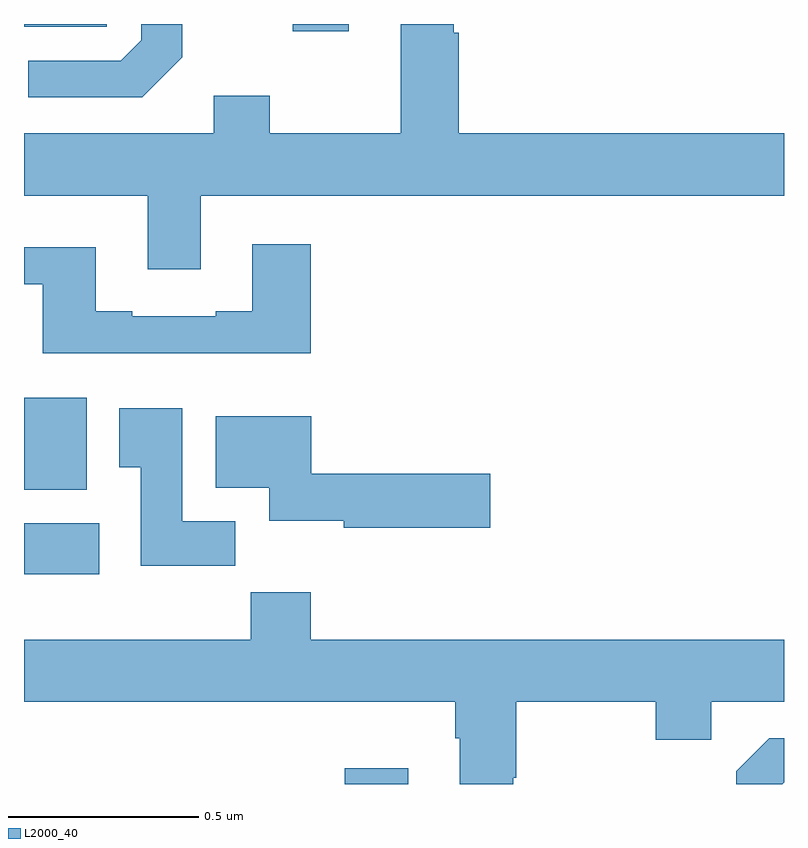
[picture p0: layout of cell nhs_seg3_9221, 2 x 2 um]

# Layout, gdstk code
import gdstk
lib = gdstk.Library(unit=1e-6, precision=1e-09)
def R(c, l, rs):  # rectangles x0, y0, x1, y1
    for r in rs: c.add(gdstk.rectangle(r[:2], r[2:], *l))
def P(c, l, *ps):  # polygons
    for p in ps: c.add(gdstk.Polygon(p, *l))
L2000_40 = (2000, 40)

nhs_seg3_9221 = lib.new_cell('nhs_seg3_9221')
R(nhs_seg3_9221, L2000_40, [(226.844,667.4,227.011,667.441), (226,667.952,226.198,668.086), (226,668.174,226.165,668.416), (226.707,669.381,226.855,669.4), (226,669.393,226.218,669.4)])
P(nhs_seg3_9221, L2000_40, [(226.465,668.948),(228,668.948),(228,669.112),(227.144,669.112),(227.144,669.377),(227.131,669.377),(227.131,669.4),(226.991,669.4),(226.991,669.112),(226.647,669.112),(226.647,669.211),(226.499,669.211),(226.499,669.112),(226,669.112),(226,668.948),(226.325,668.948),(226.325,668.754),(226.465,668.754)],
  [(226.417,669.313),(226.417,669.4),(226.308,669.4),(226.308,669.357),(226.254,669.303),(226.011,669.303),(226.011,669.207),(226.311,669.207)],
  [(226.754,668.821),(226.601,668.821),(226.601,668.644),(226.505,668.644),(226.505,668.631),(226.285,668.631),(226.285,668.644),(226.189,668.644),(226.189,668.812),(226,668.812),(226,668.715),(226.049,668.715),(226.049,668.534),(226.754,668.534)],
  [(226.556,668.092),(226.417,668.092),(226.417,668.389),(226.25,668.389),(226.25,668.233),(226.307,668.233),(226.307,667.974),(226.556,667.974)],
  [(227.227,668.216),(226.756,668.216),(226.756,668.368),(226.505,668.368),(226.505,668.18),(226.646,668.18),(226.646,668.093),(226.842,668.093),(226.842,668.074),(227.227,668.074)],
  [(227.287,667.417),(227.295,667.417),(227.295,667.616),(227.662,667.616),(227.662,667.517),(227.808,667.517),(227.808,667.616),(228,667.616),(228,667.78),(226.754,667.78),(226.754,667.904),(226.597,667.904),(226.597,667.78),(226,667.78),(226,667.616),(227.135,667.616),(227.135,667.52),(227.147,667.52),(227.147,667.4),(227.287,667.4)],
  [(228,667.404),(228,667.521),(227.961,667.521),(227.874,667.434),(227.874,667.4),(227.996,667.4)])

lib.write_gds('nhs_seg3_9221.gds')
